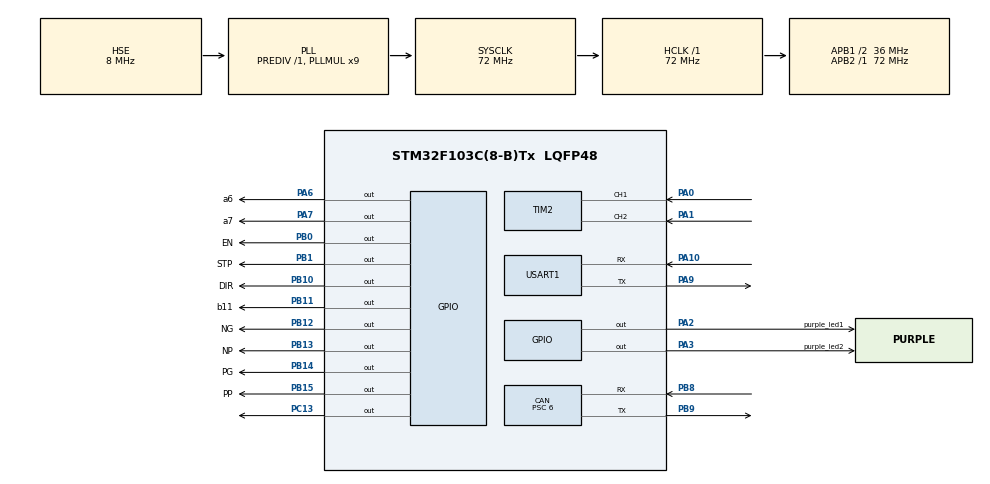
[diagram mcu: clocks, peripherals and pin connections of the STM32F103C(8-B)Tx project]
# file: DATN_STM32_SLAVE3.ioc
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CAN.BS1=CAN_BS1_2TQ
CAN.BS2=CAN_BS2_3TQ
CAN.CalculateBaudRate=999999
CAN.CalculateTimeBit=1000
CAN.CalculateTimeQuantum=166.66666666666669
CAN.NART=DISABLE
CAN.Prescaler=6
Mcu.Family=STM32F1
Mcu.Name=STM32F103C(8-B)Tx
Mcu.Package=LQFP48
NVIC.PriorityGroup=NVIC_PRIORITYGROUP_0
NVIC.TIM1_UP_IRQn=true\:0\:0\:false\:false\:true\:true\:true\:true
NVIC.TIM2_IRQn=true\:0\:0\:false\:false\:true\:true\:true\:true
NVIC.USART1_IRQn=true\:0\:0\:false\:false\:true\:true\:true\:true
NVIC.USB_LP_CAN1_RX0_IRQn=true\:0\:0\:false\:false\:true\:true\:true\:true
PA0-WKUP.GPIO_PuPd=GPIO_PULLUP
PA0-WKUP.Signal=S_TIM2_CH1_ETR
PA1.GPIO_PuPd=GPIO_PULLUP
PA1.Signal=S_TIM2_CH2
PA10.Mode=Asynchronous
PA10.Signal=USART1_RX
PA13.Mode=Serial_Wire
PA13.Signal=SYS_JTMS-SWDIO
PA14.Mode=Serial_Wire
PA14.Signal=SYS_JTCK-SWCLK
PA2.GPIO_Label=purple_led1
PA2.Signal=GPIO_Output
PA3.GPIO_Label=purple_led2
PA3.Signal=GPIO_Output
PA6.GPIO_Label=a6
PA6.Signal=GPIO_Output
PA7.GPIO_Label=a7
PA7.Signal=GPIO_Output
PA9.Mode=Asynchronous
PA9.Signal=USART1_TX
PB0.GPIO_Label=EN
PB0.Signal=GPIO_Output
PB1.GPIO_Label=STP
PB1.Signal=GPIO_Output
PB10.GPIO_Label=DIR
PB10.Signal=GPIO_Output
PB11.GPIO_Label=b11
PB11.Signal=GPIO_Output
PB12.GPIO_Label=NG
PB12.GPIO_ModeDefaultOutputPP=GPIO_MODE_OUTPUT_PP
PB12.GPIO_PuPd=GPIO_NOPULL
PB12.GPIO_Speed=GPIO_SPEED_FREQ_HIGH
PB12.PinState=GPIO_PIN_SET
PB12.Signal=GPIO_Output
PB13.GPIO_Label=NP
PB13.GPIO_PuPd=GPIO_NOPULL
PB13.GPIO_Speed=GPIO_SPEED_FREQ_HIGH
PB13.PinState=GPIO_PIN_SET
PB13.Signal=GPIO_Output
PB14.GPIO_Label=PG
PB14.GPIO_PuPd=GPIO_NOPULL
PB14.GPIO_Speed=GPIO_SPEED_FREQ_HIGH
PB14.PinState=GPIO_PIN_SET
PB14.Signal=GPIO_Output
PB15.GPIO_Label=PP
PB15.GPIO_PuPd=GPIO_NOPULL
PB15.GPIO_Speed=GPIO_SPEED_FREQ_HIGH
PB15.PinState=GPIO_PIN_SET
PB15.Signal=GPIO_Output
PB8.Mode=CAN_Activate
PB8.Signal=CAN_RX
PB9.Mode=CAN_Activate
PB9.Signal=CAN_TX
PC13-TAMPER-RTC.GPIO_Speed=GPIO_SPEED_FREQ_HIGH
PC13-TAMPER-RTC.Signal=GPIO_Output
PC14-OSC32_IN.Mode=LSE-External-Oscillator
PC14-OSC32_IN.Signal=RCC_OSC32_IN
PC15-OSC32_OUT.Mode=LSE-External-Oscillator
PC15-OSC32_OUT.Signal=RCC_OSC32_OUT
PD0-OSC_IN.Mode=HSE-External-Oscillator
PD0-OSC_IN.Signal=RCC_OSC_IN
PD1-OSC_OUT.Mode=HSE-External-Oscillator
PD1-OSC_OUT.Signal=RCC_OSC_OUT
ProjectManager.HeapSize=0x200
ProjectManager.StackSize=0x400
ProjectManager.TargetToolchain=STM32CubeIDE
RCC.AHBFreq_Value=72000000
RCC.APB1CLKDivider=RCC_HCLK_DIV2
RCC.APB1Freq_Value=36000000
RCC.APB1TimFreq_Value=72000000
RCC.APB2Freq_Value=72000000
RCC.APB2TimFreq_Value=72000000
RCC.HCLKFreq_Value=72000000
RCC.PLLMUL=RCC_PLL_MUL9
RCC.PLLSourceVirtual=RCC_PLLSOURCE_HSE
RCC.SYSCLKFreq_VALUE=72000000
RCC.SYSCLKSource=RCC_SYSCLKSOURCE_PLLCLK
RCC.USBFreq_Value=72000000
SH.S_TIM2_CH1_ETR.0=TIM2_CH1,Encoder_Interface
SH.S_TIM2_CH2.0=TIM2_CH2,Encoder_Interface
TIM1.Period=999
TIM1.Prescaler=71
TIM2.AutoReloadPreload=TIM_AUTORELOAD_PRELOAD_DISABLE
TIM2.EncoderMode=TIM_ENCODERMODE_TI12
TIM2.IC1Polarity=TIM_ICPOLARITY_FALLING
TIM2.IC2Polarity=TIM_ICPOLARITY_FALLING
TIM2.TIM_MasterOutputTrigger=TIM_TRGO_ENABLE
TIM2.TIM_MasterSlaveMode=TIM_MASTERSLAVEMODE_ENABLE
TIM4.Prescaler=71
USART1.VirtualMode=VM_ASYNC
VP_TIM1_VS_ClockSourceINT.Mode=Internal
VP_TIM4_VS_ClockSourceINT.Mode=Internal
board=custom

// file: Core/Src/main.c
/* USER CODE BEGIN Header */
/**
 ******************************************************************************
 * @file           : main.c
 * @brief          : Main program body
 ******************************************************************************
 * @attention
 *
 * Copyright (c) 2023 STMicroelectronics.
 * All rights reserved.
 *
 * This software is licensed under terms that can be found in the LICENSE file
 * in the root directory of this software component.
 * If no LICENSE file comes with this software, it is provided AS-IS.
 *
 ******************************************************************************
 */
/* USER CODE END Header */
#include "main.h"

/* USER CODE BEGIN Includes */
#include <stdio.h>
#include <stdbool.h>
#include <string.h>
#include <stdlib.h>
#include <math.h>
/* USER CODE END Includes */

/* USER CODE BEGIN PTD */

CAN_TxHeaderTypeDef TX_CAN_HEADER;
CAN_RxHeaderTypeDef RX_CAN_HEADER;
CAN_FilterTypeDef canfilterconfig;

//=============MODE
#define AC_SERVO 0
#define STP_MOTOR 1

bool Mode = AC_SERVO;
uint8_t Position;
//=============DEBUG
uint16_t count; // for debug
uint32_t position; // for debug

//=============MOTOR
#define GearboxAC_DtoP 954.22667 //Manual setup 47.2 gear + 7.1567 belt gear and 1000ppr (7.1567*48*1000/360)
#define EncoderResolution 343.5216*200/360 // Encoder with 200ppr and 47.2 gear + 7.1567 belt gear
#define ConvertEtoA 360/(343.5216*200)
#define GearboxStep_DtoP 3264*13.7/360 // gear box of step motor
#define PosToDeg 0.0015721622471439 // convert position to angle 90/57223

int16_t Angle = 0; //Current Angle
uint16_t resetAngle = 0;
float previousAngle = 0;
bool Run = false;
//=============UART
#define TxBufferSize 4  //Transmit Data
#define RxBufferSize 10 //Receive Data Position

#define UART_OK 1
#define UART_NOT_OK 0

uint8_t TxDataUart[TxBufferSize];
uint8_t RxDataUart[RxBufferSize];
//=============CAN
uint8_t CAN_Data_Rx[6]; // du lieu nhan tu can
uint32_t TxMailBox;

float pulseEnd = 0; //luu xung cho lan tiep
//int32_t pulseSupply=0; //debug
bool Check_Data = 0; //kiem tra du lie

uint8_t Data_Decode[6] = {'0'}; // Array temp for data send to master
uint8_t RxSaveUart[6] = {'0'};
char Data_Saved[6]; //du lieu duoc luu vao sau khi nhan tu CAN
bool flag_send = false; // cho phep gui du lieu
bool flag_run = false;

//=============TIMER1
bool flag_timer1 = false;
bool flag_enable_send = false;

uint8_t countSampleTime = 0; // time for sampling
uint8_t countSendData = 0; // time for send data to CAN

//=============END=============

/* USER CODE END PTD */

/* USER CODE BEGIN PM */
volatile short ExternalPulse;
/* USER CODE END PM */

CAN_HandleTypeDef hcan;

TIM_HandleTypeDef htim1;
TIM_HandleTypeDef htim2;
TIM_HandleTypeDef htim4;

UART_HandleTypeDef huart1;

void SystemClock_Config(void);
static void MX_GPIO_Init(void);
static void MX_TIM1_Init(void);
static void MX_TIM2_Init(void);
static void MX_TIM4_Init(void);
static void MX_CAN_Init(void);
static void MX_USART1_UART_Init(void);

/* USER CODE BEGIN 0 */

////=================STEP MOTOR ENCODER (Checked)
//uint8_t getCheckSum(uint8_t *buffer,uint8_t size)
//{
//	uint16_t sum=0;
//	for(uint8_t i = 0 ;i < size;i++)
//	{
//		sum += buffer[i];
//	}
//	return(sum&0xFF);
//}
//void ReadUart(uint8_t l_sAddress)
//{
//	TxDataUart[0] = 0xFA;
//	TxDataUart[1] = l_sAddress;
//	TxDataUart[2] = 0x31; // Position read mode int32 (4 bytes data last)
//	TxDataUart[3] = 0;
//	TxDataUart[3] = getCheckSum(TxDataUart,TxBufferSize-1);
//
//	HAL_UART_Transmit_IT(&huart1, TxDataUart, TxBufferSize);
//}
//int32_t DecodeData(uint8_t *input)
//{
//	int32_t readValue = (int32_t)(
//			((uint32_t)input[0] << 24)    |
//			((uint32_t)input[1] << 16)    |
//			((uint32_t)input[2] << 8)     |
//			((uint32_t)input[3] << 0));
//	return readValue;
//}

//=================ENCODER DATA (Checked)
void EncodeDataDC(uint8_t dataSend[])
{
//	ReadUart(1);
//	if(Check_Data == 1) // du lieu hop le ?
//	{
//		Check_Data = 0;
//		float Position = (float)(DecodeData(&RxDataUart[5]));
//		Angle = (Position*PosToDeg*100)/1 - resetAngle; // INT
//	}
	int IntValue = abs(Angle/100);
	int DecValue = abs(Angle%100);

	dataSend[0] = DecValue/1%10;
	dataSend[1] = DecValue/10%10;

	dataSend[2] = IntValue/1%10;
	dataSend[3] = IntValue/10%10;
	dataSend[4] = IntValue/100%10;

	if(Angle < 0) dataSend[5] = '-';
	else 		  dataSend[5] = '+';
}
void EncodeDataAC(uint8_t dataSend[])
{
	ExternalPulse = __HAL_TIM_GET_COUNTER(&htim2); //pulse input read
	Angle = ExternalPulse*ConvertEtoA*100;// AC-: 200 Pulse / Cycle. With gear 7.1567*48*100 to get 2 decimal

	int IntValue = abs(Angle/100);
	int DecValue = abs(Angle%100);

	dataSend[0] = DecValue/1%10;
	dataSend[1] = DecValue/10%10;

	dataSend[2] = IntValue/1%10;
	dataSend[3] = IntValue/10%10;
	dataSend[4] = IntValue/100%10;

	if(Angle < 0) dataSend[5] = '-';
	else	      dataSend[5] = '+';
}

//=================TIMER4 COUNTER MODE DELAY (checked)
void delay_us (uint16_t us)
{
	__HAL_TIM_SET_COUNTER(&htim4,0);
	while (__HAL_TIM_GET_COUNTER(&htim4) < us);
}

//=================CONTROL DC MOTOR (checked tempt)
void ForwardDC(uint16_t l_pulseIn, uint16_t timeDelay)
{
	HAL_GPIO_WritePin(DIR_GPIO_Port, DIR_Pin, GPIO_PIN_SET);
	for(uint16_t i =0; i < l_pulseIn; i++)
	{
		HAL_GPIO_WritePin(STP_GPIO_Port, STP_Pin, GPIO_PIN_SET);
		delay_us(timeDelay);
		HAL_GPIO_WritePin(STP_GPIO_Port, STP_Pin, GPIO_PIN_RESET);
		delay_us(timeDelay);

		if(flag_send == true)
		{
			flag_send = false;
			if(Mode == STP_MOTOR) EncodeDataDC(Data_Decode);
		}
	}
}
void InverseDC(uint16_t l_pulseIn, uint16_t timeDelay)
{
	HAL_GPIO_WritePin(DIR_GPIO_Port, DIR_Pin, GPIO_PIN_RESET);
	for(uint16_t i = 0; i < l_pulseIn; i++)
	{
		HAL_GPIO_WritePin(STP_GPIO_Port, STP_Pin, GPIO_PIN_SET);
		delay_us(timeDelay);
		HAL_GPIO_WritePin(STP_GPIO_Port, STP_Pin, GPIO_PIN_RESET);
		delay_us(timeDelay);

		if(flag_send == true)
		{
			flag_send = false;
			if(Mode == STP_MOTOR) EncodeDataDC(Data_Decode);
		}
	}
}
//=================CONTROL AC SERVO (checked tempt)
void Create_pulse_Forward_AC(uint32_t pulse_in, uint32_t time_delay)
{
	HAL_GPIO_WritePin(GPIOB, NP_Pin, GPIO_PIN_SET);
	for (int i = 0; i < pulse_in; i++)
	{
		HAL_GPIO_WritePin(GPIOB, PP_Pin, GPIO_PIN_RESET);
		delay_us(time_delay);
		HAL_GPIO_WritePin(GPIOB, PP_Pin, GPIO_PIN_SET);
		delay_us(time_delay);
	}
}
void Create_pulse_Inverse_AC(uint32_t pulse_in, uint32_t time_delay)
{
	HAL_GPIO_WritePin(GPIOB, NP_Pin, GPIO_PIN_RESET);
	for (int i = 0; i < pulse_in; i++)
	{
		HAL_GPIO_WritePin(GPIOB, PP_Pin, GPIO_PIN_RESET);
		delay_us(time_delay);
		HAL_GPIO_WritePin(GPIOB, PP_Pin, GPIO_PIN_SET);
		delay_us(time_delay);
	}
}

//=================MODE CONTROL AC SERVO/DC MOTOR (Checked)
void Control_Motor(float DELTA)
{
	if(Mode == AC_SERVO)
	{
		float deltaPulse = DELTA*GearboxAC_DtoP; // assume have decimal
		pulseEnd += deltaPulse - (int32_t)deltaPulse;
		int32_t pulseSupply = deltaPulse + (int32_t)pulseEnd/1;

		pulseEnd -= (int32_t)pulseEnd/1;
		if(pulseSupply > 0)
		{
			Create_pulse_Forward_AC(abs(pulseSupply), 10);
		}
		else if(pulseSupply < 0)
		{
			Create_pulse_Inverse_AC(abs(pulseSupply), 10);
		}
		else;
	}
	else // DC Motor
	{
		float deltaPulse = DELTA*GearboxStep_DtoP;
		pulseEnd += deltaPulse - (int32_t)deltaPulse;
		int32_t pulseSupply = deltaPulse + (int32_t)pulseEnd/1;

		pulseEnd -= (int32_t)pulseEnd/1;
		if(pulseSupply > 0)
		{
			ForwardDC(abs(pulseSupply), 100);
		}
		else if(pulseSupply < 0)
		{
			InverseDC(abs(pulseSupply), 100);
		}
		else;
	}
}

////=================TIMER1 TIMER MODE SAMPLE TIME (checked)
//void HAL_UART_RxCpltCallback(UART_HandleTypeDef *huart)
//{
//	if(HAL_UART_Receive_IT(&huart1, RxDataUart, RxBufferSize) == HAL_OK)
//	{
//		if(RxDataUart[0] == 251 && RxDataUart[1] == 1 && RxDataUart [2] == 49)
//		{
//			Check_Data = 1;
//			if(RxDataUart[3] == 255)
//			{
//				RxSaveUart[3] = RxDataUart[3];
//				RxSaveUart[4] = RxDataUart[4];
//				RxSaveUart[5] = RxDataUart[5];
//				RxSaveUart[6] = RxDataUart[6];
//				RxSaveUart[7] = RxDataUart[7];
//				RxSaveUart[8] = RxDataUart[8];
//				RxSaveUart[9] = getCheckSum(RxSaveUart, RxBufferSize-1);
//			}
//		}
//		else
//		{
//			memset(RxDataUart, 0x00,  RxBufferSize);
//			ReadUart(1);
//		}
//	}
//}

//=================TIMER1 TIMER MODE SAMPLE TIME (checked)
void HAL_TIM_PeriodElapsedCallback(TIM_HandleTypeDef *htim)
{
	if(htim->Instance == TIM1)
	{
		countSampleTime++;
		countSendData++;
		if(countSampleTime == 3)
		{
			flag_timer1 = true;
			countSampleTime = 0;
		}
		if(countSendData == 1)
		{
			flag_enable_send = true;
			countSendData = 0;
		}
	}
}
//=================TIMER2 EXTERNAL COUNTER MODE ENCODER (Checked)
//void HAL_TIM_PWM_PulseFinishedCallback(TIM_HandleTypeDef *htim)
void HAL_TIM_IC_CaptureCallback(TIM_HandleTypeDef *htim)
{
	if(htim->Instance == TIM2)
	{
		ExternalPulse = __HAL_TIM_GET_COUNTER(&htim2);
	}
}

//=================INTERRUPT CAN RECEIVE MESSAGE (Checked)
void HAL_CAN_RxFifo0MsgPendingCallback(CAN_HandleTypeDef *hcan)
{
	if(HAL_CAN_GetRxMessage(hcan, CAN_RX_FIFO0, &RX_CAN_HEADER, CAN_Data_Rx) == HAL_OK)
	{
		switch(RX_CAN_HEADER.StdId)
		{
		case 0x004:
			Data_Saved[0] = CAN_Data_Rx[0];
			Data_Saved[1] = CAN_Data_Rx[1];
			Data_Saved[2] = CAN_Data_Rx[2];
			Data_Saved[3] = CAN_Data_Rx[3];
			Data_Saved[4] = CAN_Data_Rx[4];
			Data_Saved[5] = CAN_Data_Rx[5];
			HAL_GPIO_TogglePin(GPIOC, GPIO_PIN_13);
			break;
		case 0x000:
			if(CAN_Data_Rx[0] == 's')
			{
				flag_run = true;
			}
			if(CAN_Data_Rx[0] == '3')
			{
				flag_send = true;
			}
			if(CAN_Data_Rx[0] == 'r')
			{
				TIM2->CNT=0;
				ExternalPulse = 0;
				resetAngle = Angle;
				Angle = 0;
				previousAngle = 0;
			}
			break;
		}
	}
}

/* USER CODE END 0 */

int main(void)
{

	/* MCU Configuration--------------------------------------------------------*/

	/* Reset of all peripherals, Initializes the Flash interface and the Systick. */
	HAL_Init();

	/* Configure the system clock */
	SystemClock_Config();

	/* Initialize all configured peripherals */
	MX_GPIO_Init();
	MX_TIM1_Init();
	MX_TIM2_Init();
	MX_TIM4_Init();
	MX_CAN_Init();
	MX_USART1_UART_Init();
	/* USER CODE BEGIN 2 */

	//========CAN
	HAL_CAN_Start(&hcan);
	HAL_CAN_ActivateNotification(&hcan, CAN_IT_RX_FIFO0_MSG_PENDING); // Enable interrupts

	//========TIMER AND COUNTER
	HAL_TIM_Base_Start(&htim4);
	HAL_TIM_Base_Start_IT(&htim1);

//	//========UART
//	HAL_UART_Receive_IT(&huart1, RxDataUart, RxBufferSize);
//	HAL_Delay(100);

	//========ENCODER
	HAL_TIM_Encoder_Start_IT(&htim2, TIM_CHANNEL_1|TIM_CHANNEL_2);
	HAL_TIM_IC_Start_IT(&htim2, TIM_CHANNEL_1|TIM_CHANNEL_2);

	//========SET DEFAULT PIN MODE
	HAL_GPIO_WritePin(GPIOB, PG_Pin, GPIO_PIN_SET);
	HAL_GPIO_WritePin(GPIOB, NG_Pin, GPIO_PIN_SET);
	HAL_GPIO_WritePin(GPIOB, PP_Pin, GPIO_PIN_SET);
	HAL_GPIO_WritePin(GPIOB, NP_Pin, GPIO_PIN_SET);

	HAL_GPIO_WritePin(purple_led1_GPIO_Port, purple_led1_Pin, GPIO_PIN_SET);
	HAL_GPIO_WritePin(purple_led2_GPIO_Port, purple_led2_Pin, GPIO_PIN_SET);
	/* USER CODE END 2 */

	/* Infinite loop */
	while (1)
	{

		/* USER CODE BEGIN 3 */
		if(flag_timer1 == true)
		{
			flag_timer1 = false;
			if(flag_run == true)
			{
				flag_run = false;
				float Theta_temp = atoi(Data_Saved);
				float deltaAngle = Theta_temp/100 - previousAngle;
				Control_Motor(deltaAngle);
				previousAngle += deltaAngle;
			}
		}
		//==========UPDATE INFO FOR MASTER AND SLAVE 4
		if(flag_send == true && flag_enable_send == true)
		{
			//Down-flag for next time.
			flag_send = false;
			flag_enable_send = false;

			if(Mode == AC_SERVO) EncodeDataAC(Data_Decode);
			else EncodeDataDC(Data_Decode);

			TX_CAN_HEADER.StdId = 0x004; //Send to Master
			if(HAL_CAN_AddTxMessage(&hcan, &TX_CAN_HEADER, Data_Decode, &TxMailBox) == HAL_OK)
			{
				HAL_GPIO_TogglePin(purple_led2_GPIO_Port, purple_led2_Pin);
			}
			delay_us(300);

			TX_CAN_HEADER.StdId = 0x000; //Send to all
			uint8_t RunCode;
			RunCode = '4'; // RunCode for Motor4
			if(HAL_CAN_AddTxMessage(&hcan, &TX_CAN_HEADER, &RunCode, &TxMailBox)==HAL_OK)
			{
				HAL_GPIO_TogglePin(purple_led1_GPIO_Port, purple_led1_Pin);
			}
		}
	}
	/* USER CODE END 3 */
}

void SystemClock_Config(void)
{
	RCC_OscInitTypeDef RCC_OscInitStruct = {0};
	RCC_ClkInitTypeDef RCC_ClkInitStruct = {0};

	/** Initializes the RCC Oscillators according to the specified parameters
	 * in the RCC_OscInitTypeDef structure.
	 */
	RCC_OscInitStruct.OscillatorType = RCC_OSCILLATORTYPE_HSE;
	RCC_OscInitStruct.HSEState = RCC_HSE_ON;
	RCC_OscInitStruct.HSEPredivValue = RCC_HSE_PREDIV_DIV1;
	RCC_OscInitStruct.HSIState = RCC_HSI_ON;
	RCC_OscInitStruct.PLL.PLLState = RCC_PLL_ON;
	RCC_OscInitStruct.PLL.PLLSource = RCC_PLLSOURCE_HSE;
	RCC_OscInitStruct.PLL.PLLMUL = RCC_PLL_MUL9;
	if (HAL_RCC_OscConfig(&RCC_OscInitStruct) != HAL_OK)
	{
		Error_Handler();
	}

	/** Initializes the CPU, AHB and APB buses clocks
	 */
	RCC_ClkInitStruct.ClockType = RCC_CLOCKTYPE_HCLK|RCC_CLOCKTYPE_SYSCLK
			|RCC_CLOCKTYPE_PCLK1|RCC_CLOCKTYPE_PCLK2;
	RCC_ClkInitStruct.SYSCLKSource = RCC_SYSCLKSOURCE_PLLCLK;
	RCC_ClkInitStruct.AHBCLKDivider = RCC_SYSCLK_DIV1;
	RCC_ClkInitStruct.APB1CLKDivider = RCC_HCLK_DIV2;
	RCC_ClkInitStruct.APB2CLKDivider = RCC_HCLK_DIV1;

	if (HAL_RCC_ClockConfig(&RCC_ClkInitStruct, FLASH_LATENCY_2) != HAL_OK)
	{
		Error_Handler();
	}
}

static void MX_CAN_Init(void)
{

	hcan.Instance = CAN1;
	hcan.Init.Prescaler = 6;
	hcan.Init.Mode = CAN_MODE_NORMAL;
	hcan.Init.SyncJumpWidth = CAN_SJW_1TQ;
	hcan.Init.TimeSeg1 = CAN_BS1_2TQ;
	hcan.Init.TimeSeg2 = CAN_BS2_3TQ;
	hcan.Init.TimeTriggeredMode = DISABLE;
	hcan.Init.AutoBusOff = DISABLE;
	hcan.Init.AutoWakeUp = DISABLE;
	hcan.Init.AutoRetransmission = DISABLE;
	hcan.Init.ReceiveFifoLocked = DISABLE;
	hcan.Init.TransmitFifoPriority = DISABLE;
	if (HAL_CAN_Init(&hcan) != HAL_OK)
	{
		Error_Handler();
	}
	/* USER CODE BEGIN CAN_Init 2 */

	canfilterconfig.FilterActivation = CAN_FILTER_ENABLE;
	canfilterconfig.FilterBank = 1; // which filter bank to use from the assigned ones
	canfilterconfig.FilterFIFOAssignment = CAN_FILTER_FIFO0; //
	canfilterconfig.FilterIdHigh = 0x004 << 5;
	canfilterconfig.FilterIdLow = 0x000;
	canfilterconfig.FilterMaskIdHigh = 0xffb << 5;
	canfilterconfig.FilterMaskIdLow = 0x000;
	canfilterconfig.FilterMode = CAN_FILTERMODE_IDMASK;
	canfilterconfig.FilterScale = CAN_FILTERSCALE_32BIT;
	canfilterconfig.SlaveStartFilterBank = 10;

	if(HAL_CAN_ConfigFilter(&hcan, &canfilterconfig) != HAL_OK) // add
	{
		Error_Handler();
	}
	/* -----------------------------CAN Transmit and Interrrupts ----------------------------- */
	TX_CAN_HEADER.RTR= CAN_RTR_DATA; //Remote transmission request = Data frame
	TX_CAN_HEADER.IDE= CAN_ID_STD; 	 //Standard Id (11 bits for the identifier)
	TX_CAN_HEADER.DLC= 6;
	TX_CAN_HEADER.StdId = 0x004;
	/* USER CODE END CAN_Init 2 */

}

static void MX_TIM1_Init(void)
{

	TIM_ClockConfigTypeDef sClockSourceConfig = {0};
	TIM_MasterConfigTypeDef sMasterConfig = {0};

	htim1.Instance = TIM1;
	htim1.Init.Prescaler = 71;
	htim1.Init.CounterMode = TIM_COUNTERMODE_UP;
	htim1.Init.Period = 999;
	htim1.Init.ClockDivision = TIM_CLOCKDIVISION_DIV1;
	htim1.Init.RepetitionCounter = 0;
	htim1.Init.AutoReloadPreload = TIM_AUTORELOAD_PRELOAD_DISABLE;
	if (HAL_TIM_Base_Init(&htim1) != HAL_OK)
	{
		Error_Handler();
	}
	sClockSourceConfig.ClockSource = TIM_CLOCKSOURCE_INTERNAL;
	if (HAL_TIM_ConfigClockSource(&htim1, &sClockSourceConfig) != HAL_OK)
	{
		Error_Handler();
	}
	sMasterConfig.MasterOutputTrigger = TIM_TRGO_RESET;
	sMasterConfig.MasterSlaveMode = TIM_MASTERSLAVEMODE_DISABLE;
	if (HAL_TIMEx_MasterConfigSynchronization(&htim1, &sMasterConfig) != HAL_OK)
	{
		Error_Handler();
	}

}

static void MX_TIM2_Init(void)
{

	TIM_Encoder_InitTypeDef sConfig = {0};
	TIM_MasterConfigTypeDef sMasterConfig = {0};

	htim2.Instance = TIM2;
	htim2.Init.Prescaler = 0;
	htim2.Init.CounterMode = TIM_COUNTERMODE_UP;
	htim2.Init.Period = 65535;
	htim2.Init.ClockDivision = TIM_CLOCKDIVISION_DIV1;
	htim2.Init.AutoReloadPreload = TIM_AUTORELOAD_PRELOAD_DISABLE;
	sConfig.EncoderMode = TIM_ENCODERMODE_TI12;
	sConfig.IC1Polarity = TIM_ICPOLARITY_FALLING;
	sConfig.IC1Selection = TIM_ICSELECTION_DIRECTTI;
	sConfig.IC1Prescaler = TIM_ICPSC_DIV1;
	sConfig.IC1Filter = 0;
	sConfig.IC2Polarity = TIM_ICPOLARITY_FALLING;
	sConfig.IC2Selection = TIM_ICSELECTION_DIRECTTI;
	sConfig.IC2Prescaler = TIM_ICPSC_DIV1;
	sConfig.IC2Filter = 0;
	if (HAL_TIM_Encoder_Init(&htim2, &sConfig) != HAL_OK)
	{
		Error_Handler();
	}
	sMasterConfig.MasterOutputTrigger = TIM_TRGO_ENABLE;
	sMasterConfig.MasterSlaveMode = TIM_MASTERSLAVEMODE_ENABLE;
	if (HAL_TIMEx_MasterConfigSynchronization(&htim2, &sMasterConfig) != HAL_OK)
	{
		Error_Handler();
	}

}

static void MX_TIM4_Init(void)
{

	TIM_ClockConfigTypeDef sClockSourceConfig = {0};
	TIM_MasterConfigTypeDef sMasterConfig = {0};

	htim4.Instance = TIM4;
	htim4.Init.Prescaler = 71;
	htim4.Init.CounterMode = TIM_COUNTERMODE_UP;
	htim4.Init.Period = 65535;
	htim4.Init.ClockDivision = TIM_CLOCKDIVISION_DIV1;
	htim4.Init.AutoReloadPreload = TIM_AUTORELOAD_PRELOAD_DISABLE;
	if (HAL_TIM_Base_Init(&htim4) != HAL_OK)
	{
		Error_Handler();
	}
	sClockSourceConfig.ClockSource = TIM_CLOCKSOURCE_INTERNAL;
	if (HAL_TIM_ConfigClockSource(&htim4, &sClockSourceConfig) != HAL_OK)
	{
		Error_Handler();
	}
	sMasterConfig.MasterOutputTrigger = TIM_TRGO_RESET;
	sMasterConfig.MasterSlaveMode = TIM_MASTERSLAVEMODE_DISABLE;
	if (HAL_TIMEx_MasterConfigSynchronization(&htim4, &sMasterConfig) != HAL_OK)
	{
		Error_Handler();
	}

}

static void MX_USART1_UART_Init(void)
{

	huart1.Instance = USART1;
	huart1.Init.BaudRate = 115200;
	huart1.Init.WordLength = UART_WORDLENGTH_8B;
	huart1.Init.StopBits = UART_STOPBITS_1;
	huart1.Init.Parity = UART_PARITY_NONE;
	huart1.Init.Mode = UART_MODE_TX_RX;
	huart1.Init.HwFlowCtl = UART_HWCONTROL_NONE;
	huart1.Init.OverSampling = UART_OVERSAMPLING_16;
	if (HAL_UART_Init(&huart1) != HAL_OK)
	{
		Error_Handler();
	}

}

static void MX_GPIO_Init(void)
{
	GPIO_InitTypeDef GPIO_InitStruct = {0};

	/* GPIO Ports Clock Enable */
	__HAL_RCC_GPIOC_CLK_ENABLE();
	__HAL_RCC_GPIOD_CLK_ENABLE();
	__HAL_RCC_GPIOA_CLK_ENABLE();
	__HAL_RCC_GPIOB_CLK_ENABLE();

	/*Configure GPIO pin Output Level */
	HAL_GPIO_WritePin(GPIOC, GPIO_PIN_13, GPIO_PIN_RESET);

	/*Configure GPIO pin Output Level */
	HAL_GPIO_WritePin(GPIOA, purple_led1_Pin|purple_led2_Pin|a6_Pin|a7_Pin, GPIO_PIN_RESET);

	/*Configure GPIO pin Output Level */
	HAL_GPIO_WritePin(GPIOB, EN_Pin|STP_Pin|DIR_Pin|b11_Pin, GPIO_PIN_RESET);

	/*Configure GPIO pin Output Level */
	HAL_GPIO_WritePin(GPIOB, NG_Pin|NP_Pin|PG_Pin|PP_Pin, GPIO_PIN_SET);

	/*Configure GPIO pin : PC13 */
	GPIO_InitStruct.Pin = GPIO_PIN_13;
	GPIO_InitStruct.Mode = GPIO_MODE_OUTPUT_PP;
	GPIO_InitStruct.Pull = GPIO_NOPULL;
	GPIO_InitStruct.Speed = GPIO_SPEED_FREQ_HIGH;
	HAL_GPIO_Init(GPIOC, &GPIO_InitStruct);

	/*Configure GPIO pins : purple_led1_Pin purple_led2_Pin a6_Pin a7_Pin */
	GPIO_InitStruct.Pin = purple_led1_Pin|purple_led2_Pin|a6_Pin|a7_Pin;
	GPIO_InitStruct.Mode = GPIO_MODE_OUTPUT_PP;
	GPIO_InitStruct.Pull = GPIO_NOPULL;
	GPIO_InitStruct.Speed = GPIO_SPEED_FREQ_LOW;
	HAL_GPIO_Init(GPIOA, &GPIO_InitStruct);

	/*Configure GPIO pins : EN_Pin STP_Pin DIR_Pin b11_Pin */
	GPIO_InitStruct.Pin = EN_Pin|STP_Pin|DIR_Pin|b11_Pin;
	GPIO_InitStruct.Mode = GPIO_MODE_OUTPUT_PP;
	GPIO_InitStruct.Pull = GPIO_NOPULL;
	GPIO_InitStruct.Speed = GPIO_SPEED_FREQ_LOW;
	HAL_GPIO_Init(GPIOB, &GPIO_InitStruct);

	/*Configure GPIO pins : NG_Pin NP_Pin PG_Pin PP_Pin */
	GPIO_InitStruct.Pin = NG_Pin|NP_Pin|PG_Pin|PP_Pin;
	GPIO_InitStruct.Mode = GPIO_MODE_OUTPUT_PP;
	GPIO_InitStruct.Pull = GPIO_NOPULL;
	GPIO_InitStruct.Speed = GPIO_SPEED_FREQ_HIGH;
	HAL_GPIO_Init(GPIOB, &GPIO_InitStruct);

}

void Error_Handler(void)
{
	__disable_irq();
	while (1)
	{
	}
}
